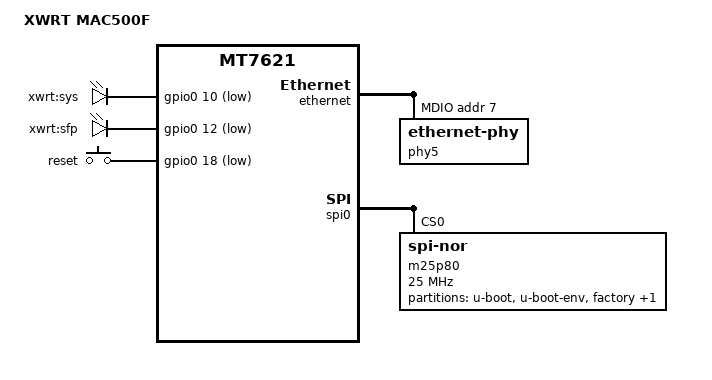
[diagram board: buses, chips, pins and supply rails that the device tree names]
// SPDX-License-Identifier: GPL-2.0-or-later OR MIT
/dts-v1/;

#include "mt7621.dtsi"

#include <dt-bindings/gpio/gpio.h>
#include <dt-bindings/input/input.h>

/ {
	model = "XWRT MAC500F";
	compatible = "xwrt,mac500f", "mediatek,mt7621-soc";

	aliases {
		led-status = &led_sys;
	};

	chosen {
		bootargs = "console=ttyS0,57600";
	};

	leds {
		compatible = "gpio-leds";

		led_sys: sys {
			label = "xwrt:sys";
			gpios = <&gpio0 10 GPIO_ACTIVE_LOW>;
		};
		sfp {
			label = "xwrt:sfp";
			gpios = <&gpio0 12 GPIO_ACTIVE_LOW>;
		};
	};

	keys {
		compatible = "gpio-keys-polled";
		poll-interval = <20>;

		reset {
			label = "reset";
			gpios = <&gpio0 18 GPIO_ACTIVE_LOW>;
			linux,code = <KEY_RESTART>;
		};
	};
};

&gdma {
	status = "okay";
};

&hsdma {
	status = "okay";
};

&ethernet {
	status = "okay";
	mtd-mac-address = <&factory 0x22>;

	port@5 {
		compatible = "mediatek,mt7621-gsw-port", "mediatek,eth-port";
		/* port idx 5 */
		reg = <5>;

		status = "okay";
		phy-mode = "rgmii";
		phy-handle = <&phy5>;
	};

	mdio-bus {
		status = "okay";

		//reset-gpios = <&gpio0 7 GPIO_ACTIVE_LOW>;

		phy5: ethernet-phy@5 {
			/* mdio addr 7 */
			reg = <7>;
			phy-mode = "rgmii";
		};
	};
};

&pinctrl {
	state_default: pinctrl0 {
		gpio {
			ralink,group = "uart2", "uart3", "wdt";
			ralink,function = "gpio";
		};
	};
};

&spi0 {
	status = "okay";

	m25p80@0 {
		compatible = "jedec,spi-nor";
		reg = <0>;
		spi-max-frequency = <25000000>;

		partitions {
			compatible = "fixed-partitions";
			#address-cells = <1>;
			#size-cells = <1>;

			partition@0 {
				label = "u-boot";
				reg = <0x0 0x30000>;
				read-only;
			};

			partition@30000 {
				label = "u-boot-env";
				reg = <0x30000 0x10000>;
				read-only;
			};

			factory: partition@40000 {
				label = "factory";
				reg = <0x40000 0x10000>;
				read-only;
			};

			partition@a0000 {
				compatible = "denx,uimage";
				label = "firmware";
				reg = <0x50000 0xfb0000>;
			};
		};
	};
};
